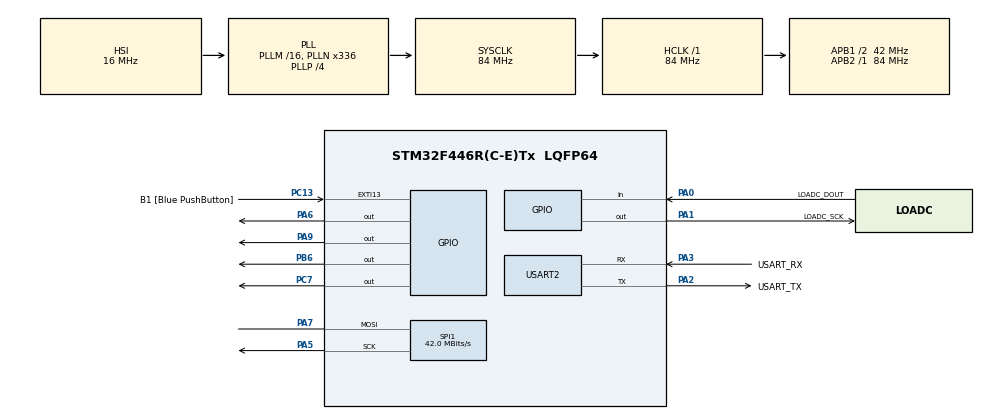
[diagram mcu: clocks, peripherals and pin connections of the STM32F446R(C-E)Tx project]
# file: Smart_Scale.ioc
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Dma.Request0=SPI1_TX
Dma.SPI1_TX.0.Direction=DMA_MEMORY_TO_PERIPH
Dma.SPI1_TX.0.FIFOMode=DMA_FIFOMODE_DISABLE
Dma.SPI1_TX.0.Instance=DMA2_Stream3
Dma.SPI1_TX.0.MemDataAlignment=DMA_MDATAALIGN_BYTE
Dma.SPI1_TX.0.MemInc=DMA_MINC_ENABLE
Dma.SPI1_TX.0.Mode=DMA_NORMAL
Dma.SPI1_TX.0.PeriphDataAlignment=DMA_PDATAALIGN_BYTE
Dma.SPI1_TX.0.PeriphInc=DMA_PINC_DISABLE
Dma.SPI1_TX.0.Priority=DMA_PRIORITY_LOW
FREERTOS.Mutexes01=lvgl_mutex,Dynamic,NULL
FREERTOS.Tasks01=defaultTask,24,256,StartDefaultTask,Default,NULL,Dynamic,NULL,NULL;lvglTask,40,1024,startLvglTask,Default,NULL,Dynamic,NULL,NULL
Mcu.Family=STM32F4
Mcu.Name=STM32F446R(C-E)Tx
Mcu.Package=LQFP64
NVIC.DMA2_Stream3_IRQn=true\:5\:0\:false\:false\:true\:true\:false\:true\:true
NVIC.PriorityGroup=NVIC_PRIORITYGROUP_4
PA0-WKUP.GPIO_Label=LOADC_DOUT
PA0-WKUP.Signal=GPIO_Input
PA1.GPIO_Label=LOADC_SCK
PA1.Signal=GPIO_Output
PA13.GPIO_Label=TMS
PA13.Mode=Serial_Wire
PA13.Signal=SYS_JTMS-SWDIO
PA14.GPIO_Label=TCK
PA14.Mode=Serial_Wire
PA14.Signal=SYS_JTCK-SWCLK
PA2.GPIO_Label=USART_TX
PA2.Mode=Asynchronous
PA2.Signal=USART2_TX
PA3.GPIO_Label=USART_RX
PA3.Mode=Asynchronous
PA3.Signal=USART2_RX
PA5.Mode=Simplex_Bidirectional_Master
PA5.Signal=SPI1_SCK
PA6.Signal=GPIO_Output
PA7.Mode=Simplex_Bidirectional_Master
PA7.Signal=SPI1_MOSI
PA9.Signal=GPIO_Output
PB6.Signal=GPIO_Output
PC13.GPIO_Label=B1 [Blue PushButton]
PC13.GPIO_ModeDefaultEXTI=GPIO_MODE_IT_FALLING
PC13.Signal=GPXTI13
PC14-OSC32_IN.Mode=LSE-External-Oscillator
PC14-OSC32_IN.Signal=RCC_OSC32_IN
PC15-OSC32_OUT.Mode=LSE-External-Oscillator
PC15-OSC32_OUT.Signal=RCC_OSC32_OUT
PC7.Signal=GPIO_Output
PH0-OSC_IN.Mode=HSE-External-Oscillator
PH0-OSC_IN.Signal=RCC_OSC_IN
PH1-OSC_OUT.Mode=HSE-External-Oscillator
PH1-OSC_OUT.Signal=RCC_OSC_OUT
ProjectManager.HeapSize=0x200
ProjectManager.StackSize=0x400
ProjectManager.TargetToolchain=CMake
RCC.48MHZClocksFreq_Value=84000000
RCC.AHBFreq_Value=84000000
RCC.APB1CLKDivider=RCC_HCLK_DIV2
RCC.APB1Freq_Value=42000000
RCC.APB1TimFreq_Value=84000000
RCC.APB2Freq_Value=84000000
RCC.APB2TimFreq_Value=84000000
RCC.CortexFreq_Value=84000000
RCC.FLatency-AdvancedSettings=FLASH_LATENCY_2
RCC.HCLKFreq_Value=84000000
RCC.HSE_VALUE=8000000
RCC.HSI_VALUE=16000000
RCC.PLLN=336
RCC.PLLP=RCC_PLLP_DIV4
RCC.SYSCLKFreq_VALUE=84000000
RCC.SYSCLKSource=RCC_SYSCLKSOURCE_PLLCLK
RCC.USBFreq_Value=168000000
RCC.VCOOutputFreq_Value=336000000
SPI1.BaudRatePrescaler=SPI_BAUDRATEPRESCALER_2
SPI1.CalculateBaudRate=42.0 MBits/s
SPI1.Direction=SPI_DIRECTION_1LINE
SPI1.Mode=SPI_MODE_MASTER
SPI1.VirtualType=VM_MASTER
USART2.VirtualMode=VM_ASYNC
VP_FREERTOS_VS_CMSIS_V2.Mode=CMSIS_V2
board=NUCLEO-F446RE

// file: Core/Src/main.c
/* USER CODE BEGIN Header */
/**
  ******************************************************************************
  * @file           : main.c
  * @brief          : Main program body
  ******************************************************************************
  * @attention
  *
  * Copyright (c) 2026 STMicroelectronics.
  * All rights reserved.
  *
  * This software is licensed under terms that can be found in the LICENSE file
  * in the root directory of this software component.
  * If no LICENSE file comes with this software, it is provided AS-IS.
  *
  ******************************************************************************
  */
/* USER CODE END Header */
#include "main.h"
#include "cmsis_os.h"
#include "dma.h"
#include "spi.h"
#include "usart.h"
#include "gpio.h"

/* USER CODE BEGIN Includes */
#include "core.h"
#include "hx711.h"
#include "gc9a01.h"
#include "scale.h"
#include "ui.h"
#include "lvgl_port.h"
/* USER CODE END Includes */

void SystemClock_Config(void);
void MX_FREERTOS_Init(void);

int main(void)
{

  /* MCU Configuration--------------------------------------------------------*/

  /* Reset of all peripherals, Initializes the Flash interface and the Systick. */
  HAL_Init();

  /* Configure the system clock */
  SystemClock_Config();

  /* Initialize all configured peripherals */
  MX_GPIO_Init();
  MX_DMA_Init();
  MX_USART2_UART_Init();
  MX_SPI1_Init();
  /* USER CODE BEGIN 2 */
  hx711_Init();
  scale_Tare();
  GC9A01_Init(&hspi1);

  /* USER CODE END 2 */

  /* Init scheduler */
  osKernelInitialize();

  /* Call init function for freertos objects (in cmsis_os2.c) */
  MX_FREERTOS_Init();

  /* Start scheduler */
  osKernelStart();

  /* We should never get here as control is now taken by the scheduler */

  /* Infinite loop */
  /* USER CODE BEGIN WHILE */
  while (1)
  {
    // scale_UpdateWeight();
    // lv_timer_handler();
    /* USER CODE END WHILE */

  }
}

void SystemClock_Config(void)
{
  RCC_OscInitTypeDef RCC_OscInitStruct = {0};
  RCC_ClkInitTypeDef RCC_ClkInitStruct = {0};

  /** Configure the main internal regulator output voltage
  */
  __HAL_RCC_PWR_CLK_ENABLE();
  __HAL_PWR_VOLTAGESCALING_CONFIG(PWR_REGULATOR_VOLTAGE_SCALE3);

  /** Initializes the RCC Oscillators according to the specified parameters
  * in the RCC_OscInitTypeDef structure.
  */
  RCC_OscInitStruct.OscillatorType = RCC_OSCILLATORTYPE_HSI;
  RCC_OscInitStruct.HSIState = RCC_HSI_ON;
  RCC_OscInitStruct.HSICalibrationValue = RCC_HSICALIBRATION_DEFAULT;
  RCC_OscInitStruct.PLL.PLLState = RCC_PLL_ON;
  RCC_OscInitStruct.PLL.PLLSource = RCC_PLLSOURCE_HSI;
  RCC_OscInitStruct.PLL.PLLM = 16;
  RCC_OscInitStruct.PLL.PLLN = 336;
  RCC_OscInitStruct.PLL.PLLP = RCC_PLLP_DIV4;
  RCC_OscInitStruct.PLL.PLLQ = 2;
  RCC_OscInitStruct.PLL.PLLR = 2;
  if (HAL_RCC_OscConfig(&RCC_OscInitStruct) != HAL_OK)
  {
    Error_Handler();
  }

  /** Initializes the CPU, AHB and APB buses clocks
  */
  RCC_ClkInitStruct.ClockType = RCC_CLOCKTYPE_HCLK|RCC_CLOCKTYPE_SYSCLK
                              |RCC_CLOCKTYPE_PCLK1|RCC_CLOCKTYPE_PCLK2;
  RCC_ClkInitStruct.SYSCLKSource = RCC_SYSCLKSOURCE_PLLCLK;
  RCC_ClkInitStruct.AHBCLKDivider = RCC_SYSCLK_DIV1;
  RCC_ClkInitStruct.APB1CLKDivider = RCC_HCLK_DIV2;
  RCC_ClkInitStruct.APB2CLKDivider = RCC_HCLK_DIV1;

  if (HAL_RCC_ClockConfig(&RCC_ClkInitStruct, FLASH_LATENCY_2) != HAL_OK)
  {
    Error_Handler();
  }
}

/* USER CODE BEGIN 4 */
int __io_putchar(int ch){
  HAL_UART_Transmit(&huart2, (uint8_t*)&ch, 1, HAL_MAX_DELAY);
  return ch;
}
/* USER CODE END 4 */

void Error_Handler(void)
{
  __disable_irq();
  while (1)
  {
  }
}

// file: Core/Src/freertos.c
/* USER CODE BEGIN Header */
/**
  ******************************************************************************
  * File Name          : freertos.c
  * Description        : Code for freertos applications
  ******************************************************************************
  * @attention
  *
  * Copyright (c) 2026 STMicroelectronics.
  * All rights reserved.
  *
  * This software is licensed under terms that can be found in the LICENSE file
  * in the root directory of this software component.
  * If no LICENSE file comes with this software, it is provided AS-IS.
  *
  ******************************************************************************
  */
/* USER CODE END Header */

#include "FreeRTOS.h"
#include "task.h"
#include "main.h"
#include "cmsis_os.h"

/* USER CODE BEGIN Includes */
#include "core.h"
#include "hx711.h"
#include "gc9a01.h"
#include "scale.h"
#include "ui.h"
#include "lvgl_port.h"
/* USER CODE END Includes */

/* Definitions for defaultTask */
osThreadId_t defaultTaskHandle;
const osThreadAttr_t defaultTask_attributes = {
  .name = "defaultTask",
  .stack_size = 256 * 4,
  .priority = (osPriority_t) osPriorityNormal,
};
/* Definitions for lvglTask */
osThreadId_t lvglTaskHandle;
const osThreadAttr_t lvglTask_attributes = {
  .name = "lvglTask",
  .stack_size = 1024 * 4,
  .priority = (osPriority_t) osPriorityHigh,
};
/* Definitions for lvgl_mutex */
osMutexId_t lvgl_mutexHandle;
const osMutexAttr_t lvgl_mutex_attributes = {
  .name = "lvgl_mutex"
};

void StartDefaultTask(void *argument);
void startLvglTask(void *argument);

void MX_FREERTOS_Init(void); /* (MISRA C 2004 rule 8.1) */

void MX_FREERTOS_Init(void) {
  /* Create the mutex(es) */
  /* creation of lvgl_mutex */
  lvgl_mutexHandle = osMutexNew(&lvgl_mutex_attributes);

  /* Create the thread(s) */
  /* creation of defaultTask */
  defaultTaskHandle = osThreadNew(StartDefaultTask, NULL, &defaultTask_attributes);

  /* creation of lvglTask */
  lvglTaskHandle = osThreadNew(startLvglTask, NULL, &lvglTask_attributes);

}

void StartDefaultTask(void *argument)
{
  /* USER CODE BEGIN StartDefaultTask */
  /* Infinite loop */
  for(;;)
  {
    scale_UpdateWeight();
    osDelay(1);
  }
  /* USER CODE END StartDefaultTask */
}

void startLvglTask(void *argument)
{
  /* USER CODE BEGIN startLvglTask */
  lv_init();
  LVGL_Port_Init();
  SmartScale_BootAnim();
  /* Infinite loop */
  for(;;)
  {
    lv_timer_handler();
    osDelay(5);
  }
  /* USER CODE END startLvglTask */
}
